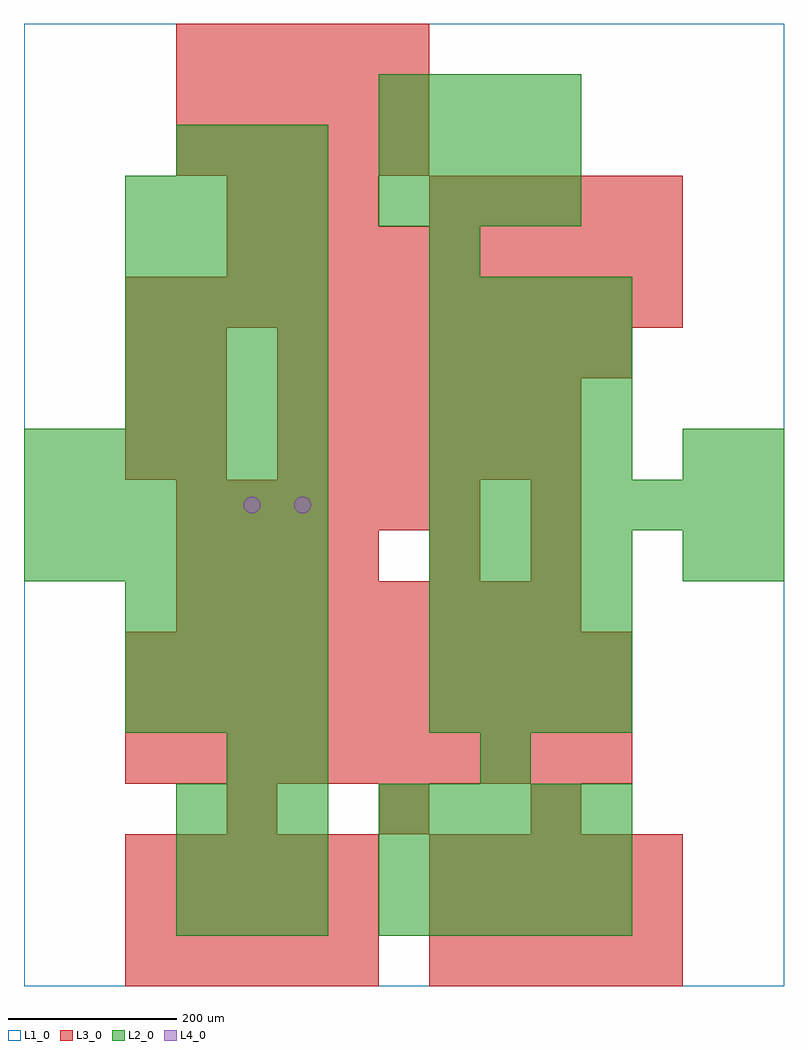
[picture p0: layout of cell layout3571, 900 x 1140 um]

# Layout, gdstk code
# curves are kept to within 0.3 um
import gdstk
lib = gdstk.Library(unit=1e-6, precision=1e-09)
def R(c, l, rs):  # rectangles x0, y0, x1, y1
    for r in rs: c.add(gdstk.rectangle(r[:2], r[2:], *l))
def A(c, l, x, y, w, h, nx, ny, dx, dy):  # array of equal rectangles
    R(c, l, [(x+i*dx, y+j*dy, x+i*dx+w, y+j*dy+h) for i in range(nx) for j in range(ny)])
def P(c, l, *ps):  # polygons
    for p in ps: c.add(gdstk.Polygon(p, *l))
L1_0 = (1, 0)
L2_0 = (2, 0)
L3_0 = (3, 0)
L4_0 = (4, 0)

layout3571 = lib.new_cell('layout3571')
R(layout3571, L1_0, [(0,0,900,1140)])
A(layout3571, L2_0, 180, 60, 60, 60, 3, 3, 60, 60)
A(layout3571, L2_0, 420, 60, 60, 60, 5, 3, 60, 60)
A(layout3571, L2_0, 120, 300, 60, 60, 4, 3, 60, 60)
A(layout3571, L2_0, 480, 300, 60, 60, 4, 4, 60, 60)
A(layout3571, L2_0, 0, 480, 60, 60, 6, 3, 60, 60)
A(layout3571, L2_0, 480, 540, 60, 60, 7, 1, 60, 0)
A(layout3571, L2_0, 480, 600, 60, 60, 4, 4, 60, 60)
A(layout3571, L2_0, 120, 660, 60, 60, 4, 5, 60, 60)
A(layout3571, L2_0, 420, 900, 60, 60, 4, 3, 60, 60)
A(layout3571, L2_0, 180, 960, 60, 60, 3, 1, 60, 0)
R(layout3571, L2_0, [(240,240,300,300), (300,240,360,300), (540,240,600,300), (780,480,840,540), (840,480,900,540), (780,600,840,660), (840,600,900,660), (480,840,540,900)])
A(layout3571, L3_0, 120, 0, 60, 60, 5, 3, 60, 60)
A(layout3571, L3_0, 480, 0, 60, 60, 5, 3, 60, 60)
A(layout3571, L3_0, 240, 180, 60, 60, 3, 1, 180, 0)
A(layout3571, L3_0, 120, 240, 60, 60, 10, 3, 60, 60)
A(layout3571, L3_0, 180, 420, 60, 60, 8, 1, 60, 0)
A(layout3571, L3_0, 180, 480, 60, 60, 4, 1, 60, 0)
A(layout3571, L3_0, 180, 540, 60, 60, 6, 1, 60, 0)
A(layout3571, L3_0, 120, 600, 60, 60, 1, 3, 0, 60)
A(layout3571, L3_0, 180, 600, 60, 60, 1, 3, 0, 60)
A(layout3571, L3_0, 300, 600, 60, 60, 6, 2, 60, 60)
A(layout3571, L3_0, 300, 720, 60, 60, 7, 1, 60, 0)
A(layout3571, L3_0, 120, 780, 60, 60, 11, 1, 60, 0)
A(layout3571, L3_0, 240, 840, 60, 60, 9, 1, 60, 0)
A(layout3571, L3_0, 240, 900, 60, 60, 3, 1, 60, 0)
A(layout3571, L3_0, 480, 900, 60, 60, 5, 1, 60, 0)
A(layout3571, L3_0, 180, 960, 60, 60, 5, 3, 60, 60)
R(layout3571, L3_0, [(480,480,540,540), (600,480,660,540), (600,540,660,600)])
P(layout3571, L4_0, [(280,570),(279.239,573.827),(277.071,577.071),(273.827,579.239),(270,580),(266.173,579.239),(262.929,577.071),(260.761,573.827),(260,570),(260.761,566.173),(262.929,562.929),(266.173,560.761),(270,560),(273.827,560.761),(277.071,562.929),(279.239,566.173)],
  [(340,570),(339.239,573.827),(337.071,577.071),(333.827,579.239),(330,580),(326.173,579.239),(322.929,577.071),(320.761,573.827),(320,570),(320.761,566.173),(322.929,562.929),(326.173,560.761),(330,560),(333.827,560.761),(337.071,562.929),(339.239,566.173)])

lib.write_gds('layout3571.gds')
